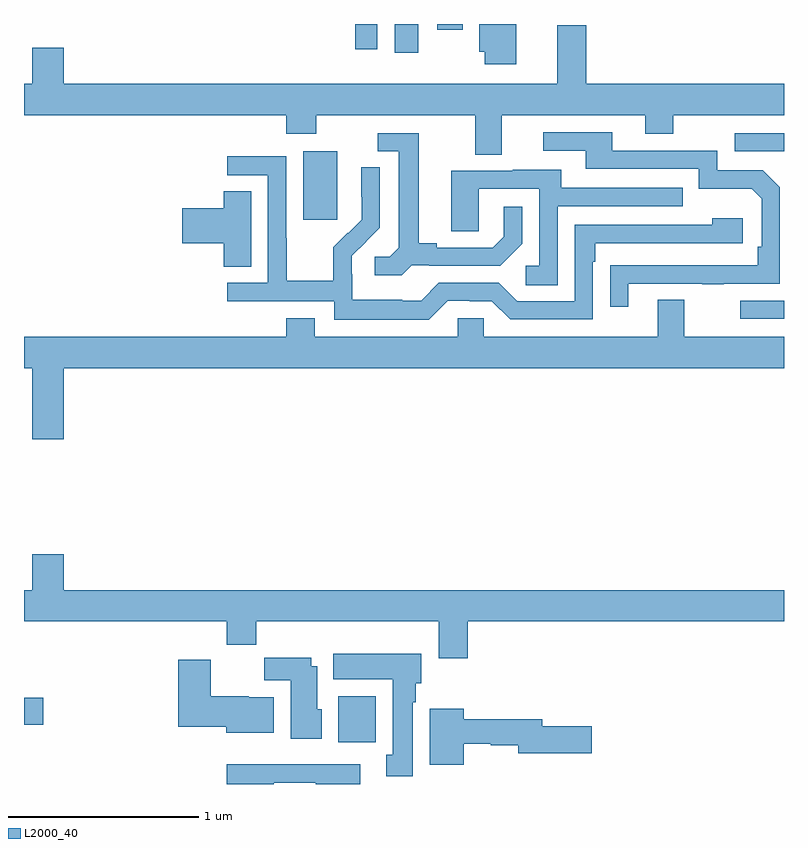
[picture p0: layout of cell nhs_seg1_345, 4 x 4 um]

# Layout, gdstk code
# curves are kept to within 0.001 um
import gdstk
lib = gdstk.Library(unit=1e-6, precision=1e-09)
def R(c, l, rs):  # rectangles x0, y0, x1, y1
    for r in rs: c.add(gdstk.rectangle(r[:2], r[2:], *l))
def P(c, l, *ps):  # polygons
    for p in ps: c.add(gdstk.Polygon(p, *l))
L2000_40 = (2000, 40)

nhs_seg1_345 = lib.new_cell('nhs_seg1_345')
R(nhs_seg1_345, L2000_40, [(130.655,560.42,130.852,560.662), (129,560.51,129.102,560.652), (132.771,562.647,133,562.743), (130.469,563.169,130.648,563.53), (132.741,563.529,133,563.625), (130.952,564.048,131.074,564.199), (130.744,564.066,130.86,564.199), (131.174,564.168,131.308,564.199)])
P(nhs_seg1_345, L2000_40, [(131.59,564.199),(131.396,564.199),(131.396,564.053),(131.425,564.053),(131.425,563.988),(131.59,563.988)],
  [(131.515,563.72),(132.269,563.72),(132.269,563.621),(132.417,563.621),(132.417,563.72),(133,563.72),(133,563.884),(131.96,563.884),(131.96,564.193),(131.807,564.193),(131.807,563.884),(129.208,563.884),(129.208,564.073),(129.044,564.073),(129.044,563.884),(129,563.884),(129,563.72),(130.379,563.72),(130.379,563.621),(130.539,563.621),(130.539,563.72),(131.375,563.72),(131.375,563.512),(131.515,563.512)],
  [(132.181,562.833),(132.571,562.833),(132.571,562.828),(132.683,562.828),(132.683,562.833),(132.978,562.833),(132.978,563.34),(132.888,563.43),(132.648,563.43),(132.648,563.532),(132.097,563.532),(132.097,563.628),(131.733,563.628),(131.733,563.532),(131.957,563.532),(131.957,563.436),(132.552,563.436),(132.552,563.333),(132.829,563.333),(132.882,563.28),(132.882,563.026),(132.862,563.026),(132.862,562.929),(132.085,562.928),(132.085,562.71),(132.181,562.71)],
  [(131.04,562.929),(131.134,562.929),(131.134,562.926),(131.506,562.926),(131.622,563.042),(131.622,563.236),(131.525,563.236),(131.525,563.079),(131.468,563.022),(131.173,563.022),(131.173,563.045),(131.077,563.045),(131.077,563.625),(130.863,563.625),(130.863,563.529),(130.973,563.529),(130.973,563.021),(130.926,562.974),(130.845,562.974),(130.845,562.877),(130.988,562.877)],
  [(131.229,562.743),(131.345,562.743),(131.345,562.74),(131.463,562.74),(131.559,562.644),(131.994,562.644),(131.994,562.949),(132.007,562.949),(132.007,563.046),(132.784,563.046),(132.784,563.176),(132.623,563.176),(132.623,563.142),(131.898,563.142),(131.898,562.74),(131.595,562.74),(131.499,562.836),(131.184,562.836),(131.091,562.743),(130.991,562.743),(130.991,562.747),(130.728,562.747),(130.728,562.881),(130.726,562.881),(130.726,562.978),(130.872,563.126),(130.872,563.444),(130.776,563.444),(130.776,563.29),(130.778,563.29),(130.778,563.168),(130.707,563.097),(130.704,563.1),(130.627,563.023),(130.627,562.849),(130.383,562.849),(130.383,563.072),(130.38,563.072),(130.38,563.502),(130.071,563.502),(130.071,563.403),(130.284,563.403),(130.284,562.836),(130.071,562.836),(130.071,562.74),(130.632,562.74),(130.632,562.643),(131.129,562.643)],
  [(131.808,563.241),(132.467,563.241),(132.467,563.337),(131.827,563.337),(131.827,563.431),(131.573,563.431),(131.573,563.427),(131.249,563.427),(131.249,563.107),(131.394,563.107),(131.394,563.331),(131.712,563.331),(131.712,562.926),(131.64,562.926),(131.64,562.825),(131.808,562.825)],
  [(130.195,563.318),(130.052,563.318),(130.052,563.228),(129.834,563.228),(129.834,563.045),(130.052,563.045),(130.052,562.921),(130.195,562.921)],
  [(129.208,562.388),(133,562.388),(133,562.552),(132.475,562.552),(132.475,562.747),(132.335,562.747),(132.335,562.552),(131.421,562.552),(131.421,562.65),(131.283,562.65),(131.283,562.552),(130.531,562.552),(130.531,562.651),(130.379,562.651),(130.379,562.552),(129,562.552),(129,562.388),(129.044,562.388),(129.044,562.014),(129.208,562.014)],
  [(131.336,561.056),(133,561.056),(133,561.22),(129.208,561.22),(129.208,561.409),(129.044,561.409),(129.044,561.22),(129,561.22),(129,561.056),(130.067,561.056),(130.067,560.932),(130.223,560.932),(130.223,561.056),(131.183,561.056),(131.183,560.862),(131.336,560.862)],
  [(131.047,560.63),(131.062,560.63),(131.062,560.73),(131.092,560.73),(131.092,560.884),(130.628,560.884),(130.628,560.75),(130.94,560.75),(130.94,560.354),(130.907,560.354),(130.907,560.241),(131.047,560.241)],
  [(130.567,560.592),(130.543,560.592),(130.543,560.818),(130.513,560.818),(130.513,560.863),(130.264,560.863),(130.264,560.744),(130.403,560.744),(130.403,560.438),(130.567,560.438)],
  [(130.315,560.656),(130.182,560.656),(130.182,560.662),(129.982,560.662),(129.982,560.854),(129.812,560.854),(129.812,560.501),(130.064,560.501),(130.064,560.468),(130.315,560.468)],
  [(131.314,560.412),(131.457,560.412),(131.457,560.404),(131.6,560.404),(131.6,560.362),(131.989,560.362),(131.989,560.504),(131.728,560.504),(131.728,560.54),(131.314,560.54),(131.314,560.596),(131.135,560.596),(131.135,560.3),(131.314,560.3)],
  [(130.315,560.205),(130.535,560.205),(130.535,560.199),(130.771,560.199),(130.771,560.302),(130.067,560.302),(130.067,560.199),(130.315,560.199)])

lib.write_gds('nhs_seg1_345.gds')
